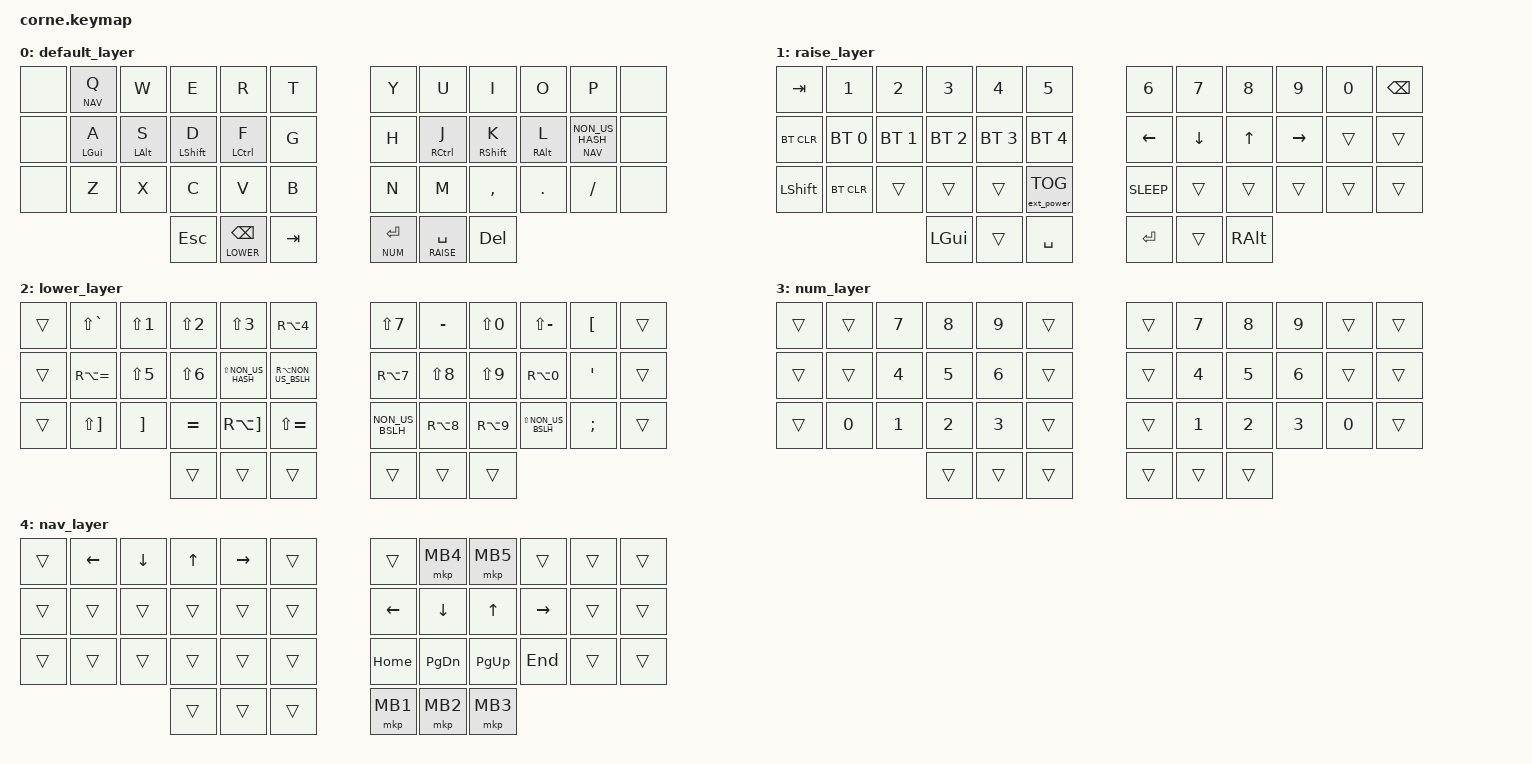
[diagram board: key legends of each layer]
/*
 * Copyright (c) 2020 The ZMK Contributors
 *
 * SPDX-License-Identifier: MIT
 */

#include <behaviors.dtsi>
#include <dt-bindings/zmk/keys.h>
#include <dt-bindings/zmk/bt.h>
#include <dt-bindings/zmk/ext_power.h>
#include <dt-bindings/zmk/mouse.h>

#define BASE 0
#define RAISE 1
#define LOWER 2
#define NUM 3
#define NAV 4

// Layer tap repeated press
&lt { quick-tap-ms = <200>; };

/ {
        behaviors {
            hm: homerow_mods {
                compatible = "zmk,behavior-hold-tap";
                label = "HOMEROW_MODS";
                #binding-cells = <2>;
                tapping-term-ms = <200>;
                quick-tap-ms = <100>;
                flavor = "tap-preferred";
                bindings = <&kp>, <&kp>;
            };
        };
        keymap {
                compatible = "zmk,keymap";

                default_layer {
// -----------------------------------------------------------------------------------------
// |      |  Q  |  W  |  E  |  R  |  T  |   |  Y  |  U   |  I  |  O  |  P  |      |
// |      |  A  |  S  |  D  |  F  |  G  |   |  H  |  J   |  K  |  L  |  '  |      |
// |      |  Z  |  X  |  C  |  V  |  B  |   |  N  |  M   |  ,  |  .  |  -  |      |
//                    | ESC | BKSP| TAB |   | ENT | SPC  | DEL |
                        bindings = <
   &none &lt NAV Q  &kp W      &kp E        &kp R          &kp T    &kp Y       &kp U           &kp I        &kp O        &kp P               &none
   &none &hm LGUI A &hm LALT S &hm LSHIFT D &hm LCTRL F    &kp G    &kp H       &hm RCTRL J     &hm RSHIFT K &hm RALT L   &lt NAV NON_US_HASH &none
   &none &kp Z      &kp X      &kp C        &kp V          &kp B    &kp N       &kp M           &kp COMMA    &kp DOT      &kp FSLH            &none
                                   &kp ESC      &lt LOWER BSPC &kp TAB  &lt NUM RET &lt RAISE SPACE &kp DEL
                        >;
                };
                raise_layer {
// -----------------------------------------------------------------------------------------
// |  TAB |  1  |  2  |  3  |  4  |  5  |   |  6  |  7  |  8  |  9  |  0  | BKSP |
// | BTCLR| BT1 | BT2 | BT3 | BT4 | BT5 |   | LFT | DWN |  UP | RGT |     |      |
// | SHFT |BTCLR|     |     |POWER|SLEEP|   |     |     |     |     |     |      |
//                    | GUI |     | SPC |   | ENT |     | ALT |
                        bindings = <
   &kp TAB    &kp N1       &kp N2       &kp N3       &kp N4       &kp N5             &kp N6      &kp N7   &kp N8 &kp N9    &kp N0 &kp BSPC
   &bt BT_CLR &bt BT_SEL 0 &bt BT_SEL 1 &bt BT_SEL 2 &bt BT_SEL 3 &bt BT_SEL 4       &kp LEFT    &kp DOWN &kp UP &kp RIGHT &trans &trans
   &kp LSHFT  &bt BT_CLR   &trans       &trans       &trans       &ext_power EP_TOG  &kp K_SLEEP &trans   &trans &trans    &trans &trans
                          	        &kp LGUI     &trans       &kp SPACE          &kp RET     &trans   &kp RALT
                        >;
                };

                lower_layer {
// -----------------------------------------------------------------------------------------
// |      |  §  |  !  |  "  |  #  |  $  |   |  /  |  +  |  =  |  ?  |  Å  |      |
// |      |  |  |  %  |  &  |  *  |  \  |   |  {  |  (  |  )  |  }  |  Ø  |      |
// |      |  ^  |  ¨  |  ´  |  ~  |  `  |   |  <  |  [  |  ]  |  >  |  Æ  |      |
//                    |     |     |     |   |     |     |     |
                        bindings = <
   &trans &kp LS(GRAVE) &kp LS(N1) &kp LS(N2) &kp LS(N3)          &kp RA(N4)           &kp LS(N7)      &kp MINUS  &kp LS(N0) &kp LS(MINUS)      &kp LBKT &trans
   &trans &kp RA(EQUAL) &kp LS(N5) &kp LS(N6) &kp LS(NON_US_HASH) &kp RA(NON_US_BSLH)  &kp RA(N7)      &kp LS(N8) &kp LS(N9) &kp RA(N0)         &kp SQT  &trans
   &trans &kp LS(RBKT)  &kp RBKT   &kp EQUAL  &kp RA(RBKT)        &kp LS(EQUAL)        &kp NON_US_BSLH &kp RA(N8) &kp RA(N9) &kp LS(NON_US_BSLH) &kp SEMI &trans
                    	           &trans    &trans               &trans               &trans          &trans     &trans
                        >;
                };
                num_layer {
// -----------------------------------------------------------------------------------------
// |      |     |  7  |  8  |  9  |     |   |     |  7  |  8  |  9  |     |      |
// |      |     |  4  |  5  |  6  |     |   |     |  4  |  5  |  6  |     |      |
// |      |  0  |  1  |  2  |  3  |     |   |     |  1  |  2  |  3  |  0  |      |
//                    |     |     |     |   |     |     |     |
                        bindings = <
   &trans &trans &kp N7 &kp N8 &kp N9 &trans   &trans &kp N7 &kp N8 &kp N9 &trans &trans
   &trans &trans &kp N4 &kp N5 &kp N6 &trans   &trans &kp N4 &kp N5 &kp N6 &trans &trans
   &trans &kp N0 &kp N1 &kp N2 &kp N3 &trans   &trans &kp N1 &kp N2 &kp N3 &kp N0 &trans
                        &trans &trans &trans   &trans &trans &trans
                        >;
                };
                nav_layer {
// -----------------------------------------------------------------------------------------
// |      | LFT | DWN |  UP | RGT |     |   |     | MB4 | MB5 |     |     |      |
// |      |     |     |     |     |     |   | LFT | DWN |  UP | RGT |     |      |
// |      |     |     |     |     |     |   | HOM | PDN | PUP | END |     |      |
//                    |     |     |     |   | MB1 | MB2 | MB3 |
                        bindings = <
   &trans &kp LEFT &kp DOWN &kp UP &kp RIGHT &trans   &trans   &mkp MB4  &mkp MB5  &trans    &trans &trans
   &trans &trans   &trans   &trans &trans    &trans   &kp LEFT &kp DOWN  &kp UP    &kp RIGHT &trans &trans
   &trans &trans   &trans   &trans &trans    &trans   &kp HOME &kp PG_DN &kp PG_UP &kp END   &trans &trans
                            &trans &trans    &trans   &mkp MB1 &mkp MB2  &mkp MB3
                        >;
                };
        };
};
